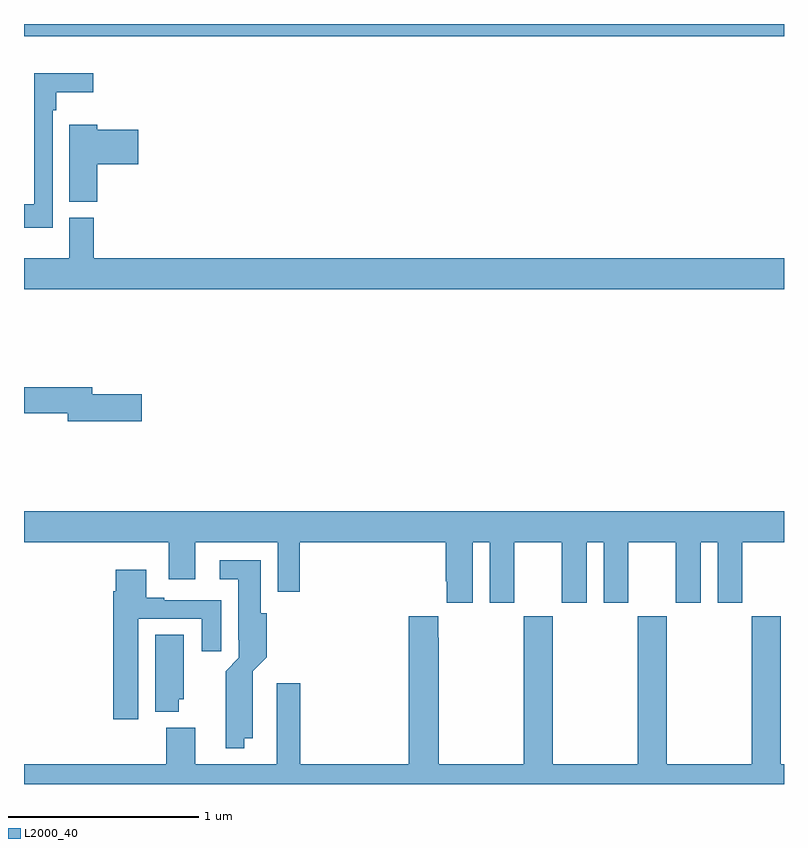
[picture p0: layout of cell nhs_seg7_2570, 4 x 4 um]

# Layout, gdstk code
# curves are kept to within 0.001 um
import gdstk
lib = gdstk.Library(unit=1e-6, precision=1e-09)
def R(c, l, rs):  # rectangles x0, y0, x1, y1
    for r in rs: c.add(gdstk.rectangle(r[:2], r[2:], *l))
def P(c, l, *ps):  # polygons
    for p in ps: c.add(gdstk.Polygon(p, *l))
L2000_40 = (2000, 40)

nhs_seg7_2570 = lib.new_cell('nhs_seg7_2570')
R(nhs_seg7_2570, L2000_40, [(279,1013.936,283,1014)])
P(nhs_seg7_2570, L2000_40, [(279.15,1013.546),(279.17,1013.546),(279.17,1013.642),(279.364,1013.642),(279.364,1013.741),(279.054,1013.741),(279.054,1013.052),(279,1013.052),(279,1012.928),(279.15,1012.928)],
  [(279.386,1013.261),(279.601,1013.261),(279.601,1013.444),(279.386,1013.444),(279.386,1013.47),(279.239,1013.47),(279.239,1013.065),(279.386,1013.065)],
  [(283,1012.768),(279.368,1012.768),(279.368,1012.98),(279.239,1012.98),(279.239,1012.768),(279,1012.768),(279,1012.604),(283,1012.604)],
  [(279.619,1012.052),(279.358,1012.052),(279.358,1012.088),(279,1012.088),(279,1011.952),(279.23,1011.952),(279.23,1011.91),(279.619,1011.91)],
  [(281.362,1011.272),(281.45,1011.272),(281.45,1010.955),(281.581,1010.955),(281.581,1011.272),(281.831,1011.272),(281.831,1010.955),(281.962,1010.955),(281.962,1011.272),(282.05,1011.272),(282.05,1010.955),(282.181,1010.955),(282.181,1011.272),(282.431,1011.272),(282.431,1010.955),(282.562,1010.955),(282.562,1011.272),(282.65,1011.272),(282.65,1010.955),(282.781,1010.955),(282.781,1011.272),(283,1011.272),(283,1011.436),(279,1011.436),(279,1011.272),(279.761,1011.272),(279.761,1011.078),(279.901,1011.078),(279.901,1011.272),(280.335,1011.272),(280.335,1011.012),(280.451,1011.012),(280.451,1011.272),(281.219,1011.272),(281.219,1011.067),(281.225,1011.067),(281.225,1010.955),(281.362,1010.955)],
  [(280.159,1010.24),(280.204,1010.24),(280.205,1010.594),(280.277,1010.666),(280.277,1010.898),(280.246,1010.898),(280.246,1011.178),(280.029,1011.178),(280.029,1011.077),(280.127,1011.077),(280.127,1010.758),(280.131,1010.758),(280.131,1010.664),(280.061,1010.594),(280.062,1010.189),(280.159,1010.189)],
  [(279.601,1010.871),(279.935,1010.871),(279.935,1010.7),(280.039,1010.7),(280.039,1010.967),(279.739,1010.967),(279.739,1010.98),(279.643,1010.98),(279.643,1011.127),(279.482,1011.127),(279.482,1011.014),(279.47,1011.014),(279.47,1010.34),(279.601,1010.34)],
  [(283,1010.104),(282.984,1010.104),(282.984,1010.884),(282.829,1010.884),(282.829,1010.104),(282.384,1010.104),(282.384,1010.884),(282.229,1010.884),(282.229,1010.104),(281.784,1010.104),(281.784,1010.884),(281.629,1010.884),(281.629,1010.104),(281.184,1010.104),(281.184,1010.771),(281.179,1010.771),(281.179,1010.884),(281.024,1010.884),(281.024,1010.104),(280.454,1010.104),(280.454,1010.53),(280.331,1010.53),(280.331,1010.104),(279.901,1010.104),(279.901,1010.296),(279.749,1010.296),(279.749,1010.104),(279,1010.104),(279,1010),(283,1010)],
  [(279.814,1010.445),(279.841,1010.445),(279.841,1010.786),(279.692,1010.786),(279.692,1010.381),(279.814,1010.381)])

lib.write_gds('nhs_seg7_2570.gds')
